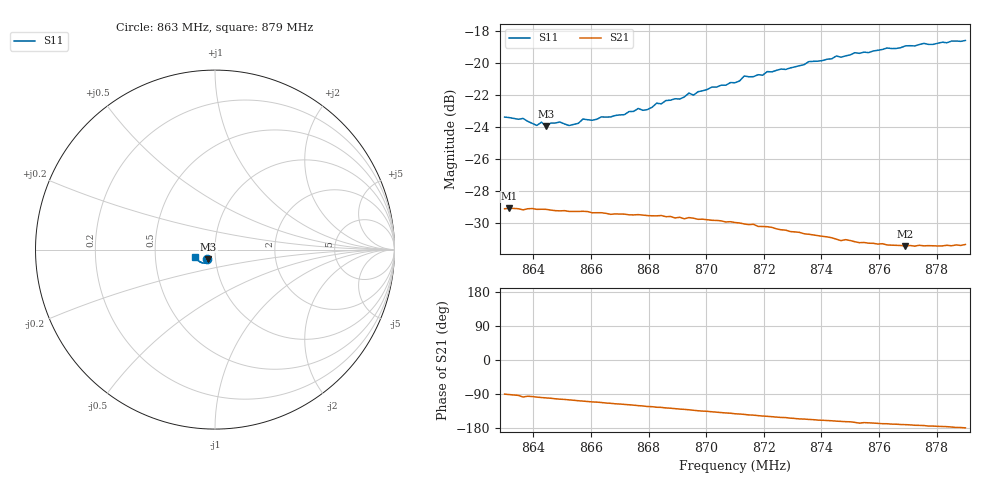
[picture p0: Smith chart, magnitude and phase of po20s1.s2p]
# HZ S RI R 50
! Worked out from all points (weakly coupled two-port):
!   101 points, 863 MHz to 879 MHz, reference 50 ohm
!   highest |S21| = -29.08 dB at 863.16 MHz (marker M1); lowest = -31.4 dB at 876.92 MHz (marker M2)
!   lowest |S11| = -24.0 dB at 864.44 MHz (marker M3), VSWR 1.14, Z = 46.3 - j4.83 ohm
!   |S11| at or under -10 dB: start of sweep to end of sweep
!   S12 and S22 are empty: the file has one direction only
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8.63e8  -0.0437 -0.0518  2e-06 -0.035  0 0  0 0
8.6316e8  -0.0434 -0.0517  -0.000753 -0.0352  0 0  0 0
8.6364e8  -0.0426 -0.0519  -0.00467 -0.0344  0 0  0 0
8.6412e8  -0.0382 -0.0512  -0.00481 -0.0346  0 0  0 0
8.6428e8  -0.0374 -0.0536  -0.0055 -0.0345  0 0  0 0
8.6444e8  -0.0362 -0.052  -0.00609 -0.0344  0 0  0 0
8.6492e8  -0.0362 -0.0545  -0.00795 -0.0336  0 0  0 0
8.6524e8  -0.0343 -0.0538  -0.00902 -0.0332  0 0  0 0
8.6572e8  -0.0341 -0.0575  -0.0109 -0.0326  0 0  0 0
8.6716e8  -0.0329 -0.0606  -0.0154 -0.03  0 0  0 0
8.6844e8  -0.0347 -0.066  -0.0191 -0.0273  0 0  0 0
8.6908e8  -0.037 -0.0677  -0.021 -0.0254  0 0  0 0
8.694e8  -0.0391 -0.0704  -0.0217 -0.0247  0 0  0 0
8.6956e8  -0.0394 -0.0689  -0.0222 -0.0241  0 0  0 0
8.702e8  -0.0424 -0.0727  -0.0234 -0.0221  0 0  0 0
8.71e8  -0.0464 -0.0733  -0.025 -0.0196  0 0  0 0
8.7132e8  -0.0501 -0.0761  -0.0253 -0.0187  0 0  0 0
8.7196e8  -0.0539 -0.0741  -0.0261 -0.0164  0 0  0 0
8.7372e8  -0.0677 -0.0753  -0.0268 -0.0111  0 0  0 0
8.7644e8  -0.0917 -0.0625  -0.0265 -0.00505  0 0  0 0
8.7692e8  -0.0974 -0.0576  -0.0264 -0.00438  0 0  0 0
8.79e8  -0.1105 -0.0404  -0.0271 -0.000427  0 0  0 0
